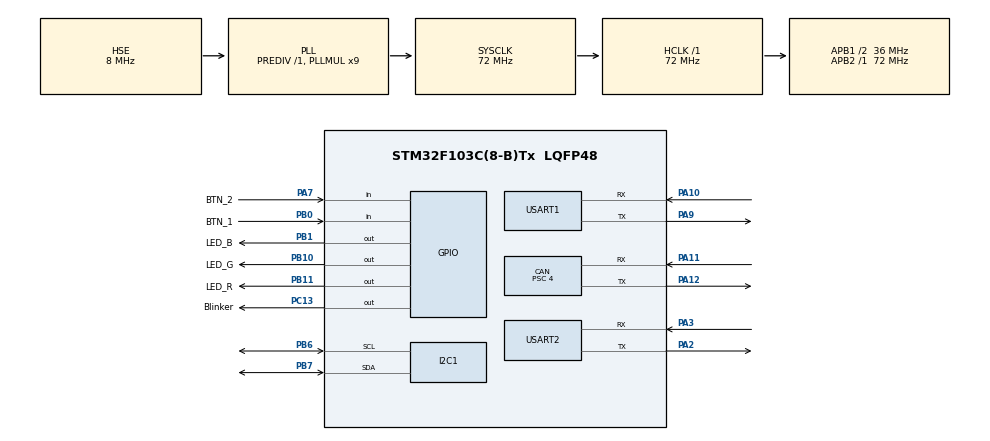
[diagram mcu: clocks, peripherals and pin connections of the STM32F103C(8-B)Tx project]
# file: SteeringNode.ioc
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CAN.BS1=CAN_BS1_13TQ
CAN.BS2=CAN_BS2_4TQ
CAN.CalculateBaudRate=500000
CAN.CalculateTimeBit=2000
CAN.CalculateTimeQuantum=111.11111111111111
CAN.Prescaler=4
CAN.SJW=CAN_SJW_1TQ
CAN.TXFP=ENABLE
Dma.MEMTOMEM.4.Direction=DMA_MEMORY_TO_MEMORY
Dma.MEMTOMEM.4.Instance=DMA1_Channel1
Dma.MEMTOMEM.4.MemDataAlignment=DMA_MDATAALIGN_BYTE
Dma.MEMTOMEM.4.MemInc=DMA_MINC_ENABLE
Dma.MEMTOMEM.4.Mode=DMA_NORMAL
Dma.MEMTOMEM.4.PeriphDataAlignment=DMA_PDATAALIGN_BYTE
Dma.MEMTOMEM.4.PeriphInc=DMA_PINC_ENABLE
Dma.MEMTOMEM.4.Priority=DMA_PRIORITY_LOW
Dma.Request0=USART2_RX
Dma.Request1=USART2_TX
Dma.Request2=USART1_RX
Dma.Request3=USART1_TX
Dma.Request4=MEMTOMEM
Dma.USART1_RX.2.Direction=DMA_PERIPH_TO_MEMORY
Dma.USART1_RX.2.Instance=DMA1_Channel5
Dma.USART1_RX.2.MemDataAlignment=DMA_MDATAALIGN_BYTE
Dma.USART1_RX.2.MemInc=DMA_MINC_ENABLE
Dma.USART1_RX.2.Mode=DMA_NORMAL
Dma.USART1_RX.2.PeriphDataAlignment=DMA_PDATAALIGN_BYTE
Dma.USART1_RX.2.PeriphInc=DMA_PINC_DISABLE
Dma.USART1_RX.2.Priority=DMA_PRIORITY_LOW
Dma.USART1_TX.3.Direction=DMA_MEMORY_TO_PERIPH
Dma.USART1_TX.3.Instance=DMA1_Channel4
Dma.USART1_TX.3.MemDataAlignment=DMA_MDATAALIGN_BYTE
Dma.USART1_TX.3.MemInc=DMA_MINC_ENABLE
Dma.USART1_TX.3.Mode=DMA_NORMAL
Dma.USART1_TX.3.PeriphDataAlignment=DMA_PDATAALIGN_BYTE
Dma.USART1_TX.3.PeriphInc=DMA_PINC_DISABLE
Dma.USART1_TX.3.Priority=DMA_PRIORITY_LOW
Dma.USART2_RX.0.Direction=DMA_PERIPH_TO_MEMORY
Dma.USART2_RX.0.Instance=DMA1_Channel6
Dma.USART2_RX.0.MemDataAlignment=DMA_MDATAALIGN_BYTE
Dma.USART2_RX.0.MemInc=DMA_MINC_ENABLE
Dma.USART2_RX.0.Mode=DMA_NORMAL
Dma.USART2_RX.0.PeriphDataAlignment=DMA_PDATAALIGN_BYTE
Dma.USART2_RX.0.PeriphInc=DMA_PINC_DISABLE
Dma.USART2_RX.0.Priority=DMA_PRIORITY_LOW
Dma.USART2_TX.1.Direction=DMA_MEMORY_TO_PERIPH
Dma.USART2_TX.1.Instance=DMA1_Channel7
Dma.USART2_TX.1.MemDataAlignment=DMA_MDATAALIGN_BYTE
Dma.USART2_TX.1.MemInc=DMA_MINC_ENABLE
Dma.USART2_TX.1.Mode=DMA_NORMAL
Dma.USART2_TX.1.PeriphDataAlignment=DMA_PDATAALIGN_BYTE
Dma.USART2_TX.1.PeriphInc=DMA_PINC_DISABLE
Dma.USART2_TX.1.Priority=DMA_PRIORITY_LOW
FREERTOS.INCLUDE_xEventGroupSetBitFromISR=1
FREERTOS.Tasks01=defaultTask,53,300,StartDefaultTask,Default,NULL,Dynamic,NULL,NULL
FREERTOS.configMINIMAL_STACK_SIZE=64
FREERTOS.configTOTAL_HEAP_SIZE=8192
FREERTOS.configUSE_NEWLIB_REENTRANT=1
I2C1.I2C_Mode=I2C_Fast
Mcu.Family=STM32F1
Mcu.Name=STM32F103C(8-B)Tx
Mcu.Package=LQFP48
NVIC.CAN1_RX1_IRQn=true\:5\:0\:false\:false\:true\:true\:true\:true\:true
NVIC.DMA1_Channel4_IRQn=true\:5\:0\:false\:false\:true\:true\:false\:true\:true
NVIC.DMA1_Channel5_IRQn=true\:5\:0\:false\:false\:true\:true\:false\:true\:true
NVIC.DMA1_Channel6_IRQn=true\:5\:0\:false\:false\:true\:true\:false\:true\:true
NVIC.DMA1_Channel7_IRQn=true\:5\:0\:false\:false\:true\:true\:false\:true\:true
NVIC.I2C1_ER_IRQn=true\:5\:0\:false\:false\:true\:true\:true\:true\:true
NVIC.I2C1_EV_IRQn=true\:5\:0\:false\:false\:true\:true\:true\:true\:true
NVIC.PriorityGroup=NVIC_PRIORITYGROUP_4
NVIC.TIM4_IRQn=true\:15\:0\:false\:false\:true\:false\:false\:true\:true
NVIC.TimeBase=TIM4_IRQn
NVIC.TimeBaseIP=TIM4
NVIC.USART1_IRQn=true\:5\:0\:false\:false\:true\:true\:true\:true\:true
NVIC.USART2_IRQn=true\:5\:0\:false\:false\:true\:true\:true\:true\:true
NVIC.USB_HP_CAN1_TX_IRQn=true\:5\:0\:false\:false\:true\:true\:true\:true\:true
NVIC.USB_LP_CAN1_RX0_IRQn=true\:5\:0\:false\:false\:true\:true\:true\:true\:true
PA10.Mode=Asynchronous
PA10.Signal=USART1_RX
PA11.Mode=CAN_Activate
PA11.Signal=CAN_RX
PA12.Mode=CAN_Activate
PA12.Signal=CAN_TX
PA13.Mode=Serial_Wire
PA13.Signal=SYS_JTMS-SWDIO
PA14.Mode=Serial_Wire
PA14.Signal=SYS_JTCK-SWCLK
PA2.Mode=Asynchronous
PA2.Signal=USART2_TX
PA3.Mode=Asynchronous
PA3.Signal=USART2_RX
PA7.GPIO_Label=BTN_2
PA7.Signal=GPIO_Input
PA9.Mode=Asynchronous
PA9.Signal=USART1_TX
PB0.GPIO_Label=BTN_1
PB0.Signal=GPIO_Input
PB1.GPIO_Label=LED_B
PB1.Signal=GPIO_Output
PB10.GPIO_Label=LED_G
PB10.Signal=GPIO_Output
PB11.GPIO_Label=LED_R
PB11.Signal=GPIO_Output
PB6.Mode=I2C
PB6.Signal=I2C1_SCL
PB7.Mode=I2C
PB7.Signal=I2C1_SDA
PC13-TAMPER-RTC.GPIO_Label=Blinker
PC13-TAMPER-RTC.Signal=GPIO_Output
PD0-OSC_IN.Mode=HSE-External-Oscillator
PD0-OSC_IN.Signal=RCC_OSC_IN
PD1-OSC_OUT.Mode=HSE-External-Oscillator
PD1-OSC_OUT.Signal=RCC_OSC_OUT
ProjectManager.HeapSize=0x200
ProjectManager.StackSize=0x400
ProjectManager.TargetToolchain=STM32CubeIDE
RCC.AHBFreq_Value=72000000
RCC.APB1CLKDivider=RCC_HCLK_DIV2
RCC.APB1Freq_Value=36000000
RCC.APB1TimFreq_Value=72000000
RCC.APB2Freq_Value=72000000
RCC.APB2TimFreq_Value=72000000
RCC.HCLKFreq_Value=72000000
RCC.PLLMUL=RCC_PLL_MUL9
RCC.PLLSourceVirtual=RCC_PLLSOURCE_HSE
RCC.SYSCLKFreq_VALUE=72000000
RCC.SYSCLKSource=RCC_SYSCLKSOURCE_PLLCLK
RCC.USBFreq_Value=72000000
USART1.VirtualMode=VM_ASYNC
USART2.VirtualMode=VM_ASYNC
VP_FREERTOS_VS_CMSIS_V2.Mode=CMSIS_V2
VP_SYS_VS_tim4.Mode=TIM4
board=custom

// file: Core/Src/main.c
/* USER CODE BEGIN Header */
/**
 ******************************************************************************
 * @file           : main.c
 * @brief          : Main program body
 ******************************************************************************
 * @attention
 *
 * Copyright (c) 2023 STMicroelectronics.
 * All rights reserved.
 *
 * This software is licensed under terms that can be found in the LICENSE file
 * in the root directory of this software component.
 * If no LICENSE file comes with this software, it is provided AS-IS.
 *
 ******************************************************************************
 */
/* USER CODE END Header */
#include "main.h"
#include "cmsis_os.h"

/* USER CODE BEGIN Includes */
#include "GPIO/GPIOHandler.h"
#include "UARTHandler/UART_Handler.h"
#include "I2CHandler/I2C_Handler.h"
#include "CANHandler/CANHandler.h"
#include "INA219/INA219.h"
#include "SteeringDriver/WheelControl/WheelControl.h"
#include "PowerPublisher/PowerPublisher.h"
#include "DataProcess/DataProcess.h"
#include "CAN_Handle.h"
/* USER CODE END Includes */

CAN_HandleTypeDef hcan;

I2C_HandleTypeDef hi2c1;

UART_HandleTypeDef huart1;
UART_HandleTypeDef huart2;
DMA_HandleTypeDef hdma_usart1_rx;
DMA_HandleTypeDef hdma_usart1_tx;
DMA_HandleTypeDef hdma_usart2_rx;
DMA_HandleTypeDef hdma_usart2_tx;

DMA_HandleTypeDef hdma_memtomem_dma1_channel1;
/* Definitions for defaultTask */
osThreadId_t defaultTaskHandle;
const osThreadAttr_t defaultTask_attributes = { .name = "defaultTask",
		.stack_size = 300 * 4, .priority = (osPriority_t) osPriorityRealtime5, };
/* USER CODE BEGIN PV */

osThreadId_t TestTask;
const osThreadAttr_t tesTask_attributes = { .name = "testTask", .stack_size =
		300 * 4, .priority = (osPriority_t) osPriorityNormal3, };

GPIO_HandlerStruct Blinker = { .Port = GPIOC, .Pin = GPIO_PIN_13 };
UART_OS_HandlerStruct Ezi_UART;
I2C_OS_HandlerStruct mainI2C;
INA219_t INA219_main;
INA219_t INA219_EZI;

Wheel_HandlerStruct Steering;
PowerPublisher_HandlerStruct mainPowerPub;
PowerPublisher_HandlerStruct EZIPowerPub;
extern uint8_t rcdata[8];
extern uint8_t Can_RecFlag;
//CANFrame_HandlerStruct CANFrame_Handler;

/* USER CODE END PV */

void SystemClock_Config(void);
static void MX_GPIO_Init(void);
static void MX_DMA_Init(void);
static void MX_CAN_Init(void);
static void MX_I2C1_Init(void);
static void MX_USART1_UART_Init(void);
static void MX_USART2_UART_Init(void);
void StartDefaultTask(void *argument);

/* USER CODE BEGIN PFP */

void CAN_TxCallback(CAN_HandleTypeDef *hcan);
void CAN_RxFifo0Callback(CAN_HandleTypeDef *hcan);
/* USER CODE END PFP */

int main(void) {

	/* MCU Configuration--------------------------------------------------------*/

	/* Reset of all peripherals, Initializes the Flash interface and the Systick. */
	HAL_Init();

	/* Configure the system clock */
	SystemClock_Config();

	/* Initialize all configured peripherals */
	MX_GPIO_Init();
	MX_DMA_Init();
	MX_CAN_Init();
	MX_I2C1_Init();
	MX_USART1_UART_Init();
	MX_USART2_UART_Init();
	/* USER CODE BEGIN 2 */

	CAN_Config_filtering(0, 0x102);
	if (HAL_CAN_ActivateNotification(&hcan,
			CAN_IT_TX_MAILBOX_EMPTY | CAN_IT_RX_FIFO0_MSG_PENDING
					| CAN_IT_RX_FIFO1_MSG_PENDING) != HAL_OK) {
		HAL_CAN_ResetError(&hcan);
	}
	if (HAL_CAN_Start(&hcan) != HAL_OK) {
		HAL_CAN_ResetError(&hcan);
	}

	/* USER CODE END 2 */

	/* Init scheduler */
	 osKernelInitialize();

	/* Create the thread(s) */
	/* creation of defaultTask */
	defaultTaskHandle = osThreadNew(StartDefaultTask, NULL, &defaultTask_attributes);
	/* USER CODE BEGIN RTOS_THREADS */
	/* add threads, ... */
	SyncPrintf_Init();
	/* USER CODE END RTOS_THREADS */

	/* Start scheduler */
	 osKernelStart();
	/* We should never get here as control is now taken by the scheduler */
	/* Infinite loop */
	while (1) {

		/* USER CODE BEGIN 3 */
//		if (Can_RecFlag == 1) {
//			Can_RecFlag = 0;
//			Angle = bytes2Float(rcdata);
//			Wheel_SetAngle_ABS(&Steering, -1.0 * Angle);
//			HAL_GPIO_TogglePin(LED_B_GPIO_Port, LED_B_Pin);
//		}
	}
	/* USER CODE END 3 */
}

void SystemClock_Config(void) {
	RCC_OscInitTypeDef RCC_OscInitStruct = { 0 };
	RCC_ClkInitTypeDef RCC_ClkInitStruct = { 0 };

	/** Initializes the RCC Oscillators according to the specified parameters
	 * in the RCC_OscInitTypeDef structure.
	 */
	RCC_OscInitStruct.OscillatorType = RCC_OSCILLATORTYPE_HSE;
	RCC_OscInitStruct.HSEState = RCC_HSE_ON;
	RCC_OscInitStruct.HSEPredivValue = RCC_HSE_PREDIV_DIV1;
	RCC_OscInitStruct.HSIState = RCC_HSI_ON;
	RCC_OscInitStruct.PLL.PLLState = RCC_PLL_ON;
	RCC_OscInitStruct.PLL.PLLSource = RCC_PLLSOURCE_HSE;
	RCC_OscInitStruct.PLL.PLLMUL = RCC_PLL_MUL9;
	if (HAL_RCC_OscConfig(&RCC_OscInitStruct) != HAL_OK) {
		Error_Handler();
	}

	/** Initializes the CPU, AHB and APB buses clocks
	 */
	RCC_ClkInitStruct.ClockType = RCC_CLOCKTYPE_HCLK | RCC_CLOCKTYPE_SYSCLK
			| RCC_CLOCKTYPE_PCLK1 | RCC_CLOCKTYPE_PCLK2;
	RCC_ClkInitStruct.SYSCLKSource = RCC_SYSCLKSOURCE_PLLCLK;
	RCC_ClkInitStruct.AHBCLKDivider = RCC_SYSCLK_DIV1;
	RCC_ClkInitStruct.APB1CLKDivider = RCC_HCLK_DIV2;
	RCC_ClkInitStruct.APB2CLKDivider = RCC_HCLK_DIV1;

	if (HAL_RCC_ClockConfig(&RCC_ClkInitStruct, FLASH_LATENCY_2) != HAL_OK) {
		Error_Handler();
	}
}

static void MX_CAN_Init(void) {

	hcan.Instance = CAN1;
	hcan.Init.Prescaler = 4;
	hcan.Init.Mode = CAN_MODE_NORMAL;
	hcan.Init.SyncJumpWidth = CAN_SJW_1TQ;
	hcan.Init.TimeSeg1 = CAN_BS1_13TQ;
	hcan.Init.TimeSeg2 = CAN_BS2_4TQ;
	hcan.Init.TimeTriggeredMode = DISABLE;
	hcan.Init.AutoBusOff = DISABLE;
	hcan.Init.AutoWakeUp = DISABLE;
	hcan.Init.AutoRetransmission = DISABLE;
	hcan.Init.ReceiveFifoLocked = DISABLE;
	hcan.Init.TransmitFifoPriority = ENABLE;
	if (HAL_CAN_Init(&hcan) != HAL_OK) {
		Error_Handler();
	}

}

static void MX_I2C1_Init(void) {

	hi2c1.Instance = I2C1;
	hi2c1.Init.ClockSpeed = 400000;
	hi2c1.Init.DutyCycle = I2C_DUTYCYCLE_2;
	hi2c1.Init.OwnAddress1 = 0;
	hi2c1.Init.AddressingMode = I2C_ADDRESSINGMODE_7BIT;
	hi2c1.Init.DualAddressMode = I2C_DUALADDRESS_DISABLE;
	hi2c1.Init.OwnAddress2 = 0;
	hi2c1.Init.GeneralCallMode = I2C_GENERALCALL_DISABLE;
	hi2c1.Init.NoStretchMode = I2C_NOSTRETCH_DISABLE;
	if (HAL_I2C_Init(&hi2c1) != HAL_OK) {
		Error_Handler();
	}

}

static void MX_USART1_UART_Init(void) {

	huart1.Instance = USART1;
	huart1.Init.BaudRate = 115200;
	huart1.Init.WordLength = UART_WORDLENGTH_8B;
	huart1.Init.StopBits = UART_STOPBITS_1;
	huart1.Init.Parity = UART_PARITY_NONE;
	huart1.Init.Mode = UART_MODE_TX_RX;
	huart1.Init.HwFlowCtl = UART_HWCONTROL_NONE;
	huart1.Init.OverSampling = UART_OVERSAMPLING_16;
	if (HAL_UART_Init(&huart1) != HAL_OK) {
		Error_Handler();
	}

}

static void MX_USART2_UART_Init(void) {

	huart2.Instance = USART2;
	huart2.Init.BaudRate = 115200;
	huart2.Init.WordLength = UART_WORDLENGTH_8B;
	huart2.Init.StopBits = UART_STOPBITS_1;
	huart2.Init.Parity = UART_PARITY_NONE;
	huart2.Init.Mode = UART_MODE_TX_RX;
	huart2.Init.HwFlowCtl = UART_HWCONTROL_NONE;
	huart2.Init.OverSampling = UART_OVERSAMPLING_16;
	if (HAL_UART_Init(&huart2) != HAL_OK) {
		Error_Handler();
	}

}

static void MX_DMA_Init(void) {

	/* DMA controller clock enable */
	__HAL_RCC_DMA1_CLK_ENABLE();

	/* Configure DMA request hdma_memtomem_dma1_channel1 on DMA1_Channel1 */
	hdma_memtomem_dma1_channel1.Instance = DMA1_Channel1;
	hdma_memtomem_dma1_channel1.Init.Direction = DMA_MEMORY_TO_MEMORY;
	hdma_memtomem_dma1_channel1.Init.PeriphInc = DMA_PINC_ENABLE;
	hdma_memtomem_dma1_channel1.Init.MemInc = DMA_MINC_ENABLE;
	hdma_memtomem_dma1_channel1.Init.PeriphDataAlignment = DMA_PDATAALIGN_BYTE;
	hdma_memtomem_dma1_channel1.Init.MemDataAlignment = DMA_MDATAALIGN_BYTE;
	hdma_memtomem_dma1_channel1.Init.Mode = DMA_NORMAL;
	hdma_memtomem_dma1_channel1.Init.Priority = DMA_PRIORITY_LOW;
	if (HAL_DMA_Init(&hdma_memtomem_dma1_channel1) != HAL_OK) {
		Error_Handler();
	}

	/* DMA interrupt init */
	/* DMA1_Channel4_IRQn interrupt configuration */
	HAL_NVIC_SetPriority(DMA1_Channel4_IRQn, 5, 0);
	HAL_NVIC_EnableIRQ(DMA1_Channel4_IRQn);
	/* DMA1_Channel5_IRQn interrupt configuration */
	HAL_NVIC_SetPriority(DMA1_Channel5_IRQn, 5, 0);
	HAL_NVIC_EnableIRQ(DMA1_Channel5_IRQn);
	/* DMA1_Channel6_IRQn interrupt configuration */
	HAL_NVIC_SetPriority(DMA1_Channel6_IRQn, 5, 0);
	HAL_NVIC_EnableIRQ(DMA1_Channel6_IRQn);
	/* DMA1_Channel7_IRQn interrupt configuration */
	HAL_NVIC_SetPriority(DMA1_Channel7_IRQn, 5, 0);
	HAL_NVIC_EnableIRQ(DMA1_Channel7_IRQn);

}

static void MX_GPIO_Init(void) {
	GPIO_InitTypeDef GPIO_InitStruct = { 0 };

	/* GPIO Ports Clock Enable */
	__HAL_RCC_GPIOC_CLK_ENABLE();
	__HAL_RCC_GPIOD_CLK_ENABLE();
	__HAL_RCC_GPIOA_CLK_ENABLE();
	__HAL_RCC_GPIOB_CLK_ENABLE();

	/*Configure GPIO pin Output Level */
	HAL_GPIO_WritePin(Blinker_GPIO_Port, Blinker_Pin, GPIO_PIN_RESET);

	/*Configure GPIO pin Output Level */
	HAL_GPIO_WritePin(GPIOB, LED_B_Pin | LED_G_Pin | LED_R_Pin, GPIO_PIN_RESET);

	/*Configure GPIO pin : Blinker_Pin */
	GPIO_InitStruct.Pin = Blinker_Pin;
	GPIO_InitStruct.Mode = GPIO_MODE_OUTPUT_PP;
	GPIO_InitStruct.Pull = GPIO_NOPULL;
	GPIO_InitStruct.Speed = GPIO_SPEED_FREQ_LOW;
	HAL_GPIO_Init(Blinker_GPIO_Port, &GPIO_InitStruct);

	/*Configure GPIO pin : BTN_2_Pin */
	GPIO_InitStruct.Pin = BTN_2_Pin;
	GPIO_InitStruct.Mode = GPIO_MODE_INPUT;
	GPIO_InitStruct.Pull = GPIO_NOPULL;
	HAL_GPIO_Init(BTN_2_GPIO_Port, &GPIO_InitStruct);

	/*Configure GPIO pin : BTN_1_Pin */
	GPIO_InitStruct.Pin = BTN_1_Pin;
	GPIO_InitStruct.Mode = GPIO_MODE_INPUT;
	GPIO_InitStruct.Pull = GPIO_NOPULL;
	HAL_GPIO_Init(BTN_1_GPIO_Port, &GPIO_InitStruct);

	/*Configure GPIO pins : LED_B_Pin LED_G_Pin LED_R_Pin */
	GPIO_InitStruct.Pin = LED_B_Pin | LED_G_Pin | LED_R_Pin;
	GPIO_InitStruct.Mode = GPIO_MODE_OUTPUT_PP;
	GPIO_InitStruct.Pull = GPIO_NOPULL;
	GPIO_InitStruct.Speed = GPIO_SPEED_FREQ_LOW;
	HAL_GPIO_Init(GPIOB, &GPIO_InitStruct);

}

/* USER CODE BEGIN 4 */
void HAL_UART_RxCpltCallback(UART_HandleTypeDef *huart) {
	if (Ezi_UART.huart == huart) {
		UART_OS_RxCplt_CB(&Ezi_UART);
	}
}
void HAL_UART_TxCpltCallback(UART_HandleTypeDef *huart) {
	if (Ezi_UART.huart == huart) {
		UART_OS_TxCplt_CB(&Ezi_UART);
	}
}

void HAL_UARTEx_RxEventCallback(UART_HandleTypeDef *huart, uint16_t Size) {
	if (Ezi_UART.huart == huart) {
		UART_OS_RcvToIdle_CB(&Ezi_UART, Size);
	}
}

void HAL_I2C_MemRxCpltCallback(I2C_HandleTypeDef *hi2c) {
	if (mainI2C.hi2c == hi2c) {
		I2C_OS_MEM_RxCpltCB(&mainI2C);
	}
}
void HAL_I2C_MemTxCpltCallback(I2C_HandleTypeDef *hi2c) {
	if (mainI2C.hi2c == hi2c) {
		I2C_OS_MEM_TxCpltCB(&mainI2C);
	}
}

//void CAN_TxCallback(CAN_HandleTypeDef *hcan) {
//	if (CANmain.hcan == hcan) {
//		CAN_OS_TxCplt_CB(&CANmain);
//	}
//}

//void CAN_RxFifo0Callback(CAN_HandleTypeDef *hcan) {
//	if (CANmain.hcan == hcan) {
//		CAN_OS_RxFifo0Cplt_CB(&CANmain);
//	}
//}

//void CANFrame_RcvDoneHandler(CANFrame_RxHeaderTypedef *CANFrame_RxHeader,
//		uint8_t *str) {
//
//}

//void testTask(void *arg) {
//	while (1) {
//		HAL_GPIO_TogglePin(GPIOC, GPIO_PIN_13);
//		osDelay(1500);
//	}
//}

/* USER CODE END 4 */

void StartDefaultTask(void *argument) {
	/* USER CODE BEGIN 5 */

	UART_OS_Init(&Ezi_UART, &huart2);
	//I2C_OS_Init(&mainI2C, &hi2c1);
	//CAN_OS_Init(&CANmain, &hcan);
	//CAN_OS_RegisterCB(&CANmain, CAN_OS_ActivateTxCB_ID, CAN_TxCallback);
	//CAN_OS_RegisterCB(&CANmain, CAN_OS_ActivateRxFifo0_ID, CAN_RxFifo0Callback);

	//CANFrame_Init(&CANFrame_Handler, &CANmain, CANFRAME_STEERING_ID,
	//		CAN_RX_FIFO0);
	//CANFrame_RegCB(&CANFrame_Handler, CANFRAME_RCVCPLT_CB_ID,
	//			CANFrame_RcvDoneHandler);
	//CAN_OS_Start(&CANmain);
//	INA219_Init(&INA219_main, &mainI2C, INA219_ADDRESS_Default);
//	INA219_Init(&INA219_EZI, &mainI2C, INA219_ADDRESS_A0);
//	PowerPublisher_Init(&mainPowerPub, &INA219_main, &CANFrame_Handler, 50);
//	PowerPublisher_Init(&EZIPowerPub, &INA219_EZI, &CANFrame_Handler, 50);

//	PowerPublisher_SetName(&EZIPowerPub, "MOTORPWR");
//	PowerPublisher_SetName(&mainPowerPub, "MAINPWR");

	Wheel_Init(&Steering, &Ezi_UART);
	Wheel_setLimit(&Steering, 25, 25);

//	PowerPublisher_Start(&EZIPowerPub, 1);
//	PowerPublisher_Start(&mainPowerPub, 1);

	//TestTask = osThreadNew(testTask, 0, &tesTask_attributes);
	osThreadSetPriority(defaultTaskHandle, osPriorityRealtime);
	float Angle;
	/* Infinite loop */
	for (;;) {
		if (Can_RecFlag == 1) {
			Can_RecFlag = 0;
			Angle = bytes2Float(rcdata);
			Wheel_SetAngle_ABS(&Steering, -1.0 * Angle);
			//HAL_GPIO_TogglePin(LED_B_GPIO_Port, LED_B_Pin);
		}
		osDelay(1);
		/* USER CODE END 5 */
	}
}
void HAL_TIM_PeriodElapsedCallback(TIM_HandleTypeDef *htim) {
	if (htim->Instance == TIM4) {
		HAL_IncTick();
	}
}

void Error_Handler(void) {
	__disable_irq();
	while (1) {
	}
}

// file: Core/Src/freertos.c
/* USER CODE BEGIN Header */
/**
 ******************************************************************************
 * File Name          : freertos.c
 * Description        : Code for freertos applications
 ******************************************************************************
 * @attention
 *
 * Copyright (c) 2023 STMicroelectronics.
 * All rights reserved.
 *
 * This software is licensed under terms that can be found in the LICENSE file
 * in the root directory of this software component.
 * If no LICENSE file comes with this software, it is provided AS-IS.
 *
 ******************************************************************************
 */
/* USER CODE END Header */

#include "FreeRTOS.h"
#include "task.h"
#include "main.h"

/* USER CODE BEGIN Includes */
#include "SteeringDriver/WheelControl/WheelControl.h"
#include "DataProcess/DataProcess.h"
/* USER CODE END Includes */

/* USER CODE BEGIN PD */
#define NODE_ID 				STEERING
/* USER CODE END PD */

/* USER CODE BEGIN Variables */
extern CAN_HandleTypeDef hcan;
//static CANBufferHandleStruct Rx_Buffer;
//static FlagFrameHandle Flag;
//static CANConfigIDTxtypedef pIDtype;
extern Wheel_HandlerStruct Steering;
//FlagRecNotification FlagRec;
uint8_t mess[62] = { 0 };
char Print[100] = { 0 };

osThreadId_t mMainTaskHandle;
const osThreadAttr_t mMainTask_attributes = { .name = "mMainTask", .stack_size =
		256 * 4, .priority = (osPriority_t) osPriorityNormal, };
/* Definitions for mCanRecv */
osThreadId_t mCanRecvHandle;
const osThreadAttr_t mCanRecv_attributes = { .name = "mCanRecv", .stack_size =
		256 * 4, .priority = (osPriority_t) osPriorityLow, };
/* Definitions for myDataProcessin */
osThreadId_t myDataProcessinHandle;
const osThreadAttr_t myDataProcessin_attributes = { .name = "myDataProcessin",
		.stack_size = 128 * 4, .priority = (osPriority_t) osPriorityHigh, };

//extern SpeedControler_HandlerStruct SpeedController;
/* USER CODE END Variables */

/* USER CODE BEGIN FunctionPrototypes */
void MainTask(void *argument);
void CanRecv(void *argument);
void DataProcessing(void *argument);

//void MX_FREERTOS_Init(void);

/* USER CODE END FunctionPrototypes */

/* USER CODE BEGIN Application */
//void CAN_ProcessMsg(CANBufferHandleStruct *AppBuffer, uint8_t *str) {
//	uint8_t strLen = AppBuffer->NodeHandle[AppBuffer->RecvID].PacketLength - 2;
//	uint8_t ID;
//	char Data[50];
//	float Angle;
//	int res = 0;
//	char strAngle[10];
//	if (str[0] != '#' || str[strLen - 1] != '\n') {
//		return;
//	}
//
//	if (DataPack_Split((char*) str, &ID, Data) != 0) {
//		return;
//	}
//
//	switch (ID) {
//	case 2:
//		res = DataPack_GetSteerAngle(Data, &Angle);
//		if (res != 0)
//			return;
//		FloatToStr(Angle, strAngle, 3);
////		SyncPrintf("Ang %s \r\n", strAngle);
//		Wheel_SetAngle_ABS(&Steering, Angle);
//		break;
//	default:
//		break;
//	}
//}

void MX_FREERTOS_Init(void) {
	mCanRecvHandle = osThreadNew(CanRecv, NULL, &mCanRecv_attributes);
	myDataProcessinHandle = osThreadNew(DataProcessing, NULL,
			&myDataProcessin_attributes);
}

void CanRecv(void *argument) {
	/* USER CODE BEGIN CanRecv */
	// FlagRecNotification FlagRec;
	/* Infinite loop */
	for (;;) {
		//CAN_Receive_Application(&Rx_Buffer, mess, &Flag, &FlagRec);
		osDelay(1);
	}
	/* USER CODE END CanRecv */
}

void DataProcessing(void *argument) {
	/* USER CODE BEGIN DataProcessing */
	/* Infinite loop */
	for (;;) {
//		if (FlagRec == REC_SUCCESS) {
////			uint32_t len = sprintf(Print, "Node 2 Rcv: %s\r\n", mess);
////           HAL_UART_Transmit(&huart1,(uint8_t*)Print,len,HAL_MAX_DELAY);
//			if (Rx_Buffer.RecvID == NODE_ID)
//				CAN_ProcessMsg(&Rx_Buffer, mess);
//		}
//		osDelay(1);
	}
	/* USER CODE END DataProcessing */
}

/* USER CODE END Application */
